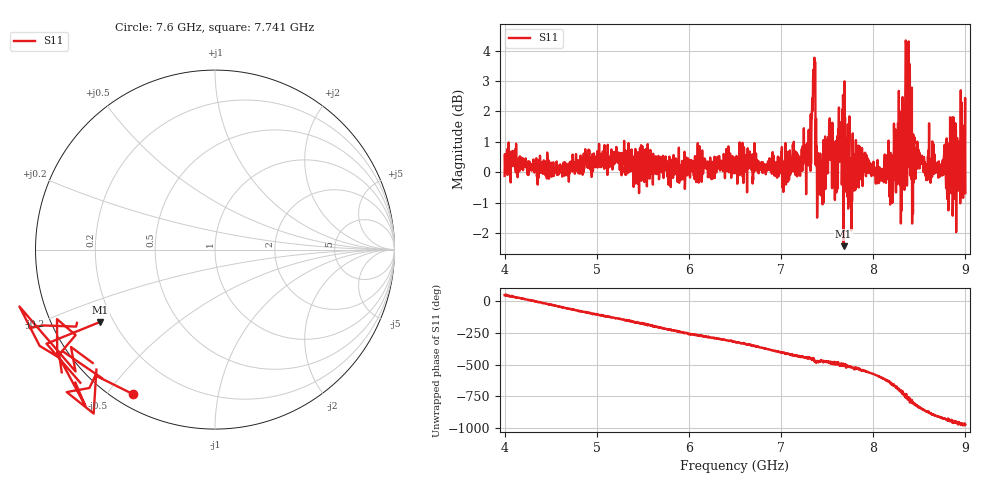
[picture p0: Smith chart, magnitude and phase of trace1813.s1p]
! Created with skrf 1.8.0 (http://scikit-rf.org).
# Hz S RI R 50.0
!freq ReS11 ImS11
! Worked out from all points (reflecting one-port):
!   1601 points, 4 GHz to 9 GHz, reference 50 ohm
!   lowest |S11| = -2.4 dB at 7.678 GHz (marker M1), VSWR 7.17, Z = 7.54 - j14.1 ohm
!   phase of S11 starts at 51 deg and turns -1024 deg over the sweep
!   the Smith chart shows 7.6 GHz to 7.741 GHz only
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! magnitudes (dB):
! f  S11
! 4 GHz  -0.1
! 4.625 GHz  -0.1
! 5.25 GHz  0.1
! 5.875 GHz  0.1
! 6.5 GHz  0.0
! 7.125 GHz  0.7
! 7.294 GHz  0.5
! 7.356 GHz  3.4
! 7.397 GHz  -0.6
! 7.416 GHz  -0.3
! 7.509 GHz  0.0
! 7.578 GHz  0.8
! 7.65 GHz  1.1
! 7.678 GHz  -2.4
! 7.75 GHz  0.2
! 8.147 GHz  -0.2
! 8.197 GHz  0.1
! 8.259 GHz  0.5
! 8.316 GHz  0.4
! 8.334 GHz  0.2
! 8.375 GHz  0.6
! 8.384 GHz  4.3
! 8.447 GHz  1.1
! 8.722 GHz  -0.2
! 8.834 GHz  1.8
! 8.875 GHz  -0.7
! 8.972 GHz  0.6
! 9 GHz  -0.7
